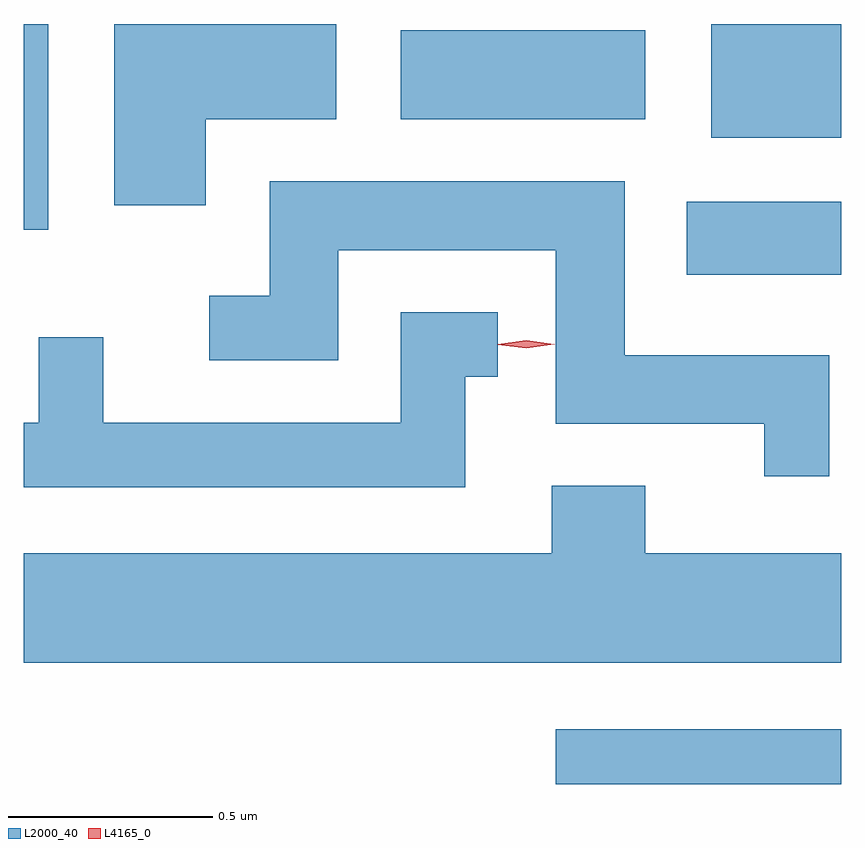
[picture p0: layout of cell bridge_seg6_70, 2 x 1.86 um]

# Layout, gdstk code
import gdstk
lib = gdstk.Library(unit=1e-6, precision=1e-09)
def R(c, l, rs):  # rectangles x0, y0, x1, y1
    for r in rs: c.add(gdstk.rectangle(r[:2], r[2:], *l))
def P(c, l, *ps):  # polygons
    for p in ps: c.add(gdstk.Polygon(p, *l))
L2000_40 = (2000, 40)
L4165_0 = (4165, 0)

bridge_seg6_70 = lib.new_cell('bridge_seg6_70')
R(bridge_seg6_70, L2000_40, [(1255.761,1638.54,1256.459,1638.674), (1256.081,1639.786,1256.459,1639.964), (1254.459,1639.896,1254.519,1640.399), (1256.141,1640.121,1256.459,1640.399), (1255.381,1640.166,1255.979,1640.384)])
P(bridge_seg6_70, L2000_40, [(1254.904,1640.166),(1255.224,1640.166),(1255.224,1640.399),(1254.681,1640.399),(1254.681,1639.956),(1254.904,1639.956)],
  [(1256.429,1639.589),(1255.929,1639.589),(1255.929,1640.014),(1255.061,1640.014),(1255.061,1639.734),(1254.913,1639.734),(1254.913,1639.576),(1255.229,1639.576),(1255.229,1639.846),(1255.761,1639.846),(1255.761,1639.421),(1256.271,1639.421),(1256.271,1639.293),(1256.429,1639.293)],
  [(1255.539,1639.536),(1255.618,1639.536),(1255.618,1639.694),(1255.381,1639.694),(1255.381,1639.424),(1254.654,1639.424),(1254.654,1639.633),(1254.496,1639.633),(1254.496,1639.424),(1254.459,1639.424),(1254.459,1639.266),(1255.539,1639.266)],
  [(1256.459,1639.104),(1255.979,1639.104),(1255.979,1639.269),(1255.751,1639.269),(1255.751,1639.104),(1254.459,1639.104),(1254.459,1638.836),(1256.459,1638.836)])
P(bridge_seg6_70, L4165_0, [(1255.688,1639.606),(1255.619,1639.615),(1255.619,1639.616),(1255.619,1639.616),(1255.688,1639.626),(1255.757,1639.616),(1255.758,1639.616),(1255.757,1639.616)])

lib.write_gds('bridge_seg6_70.gds')
